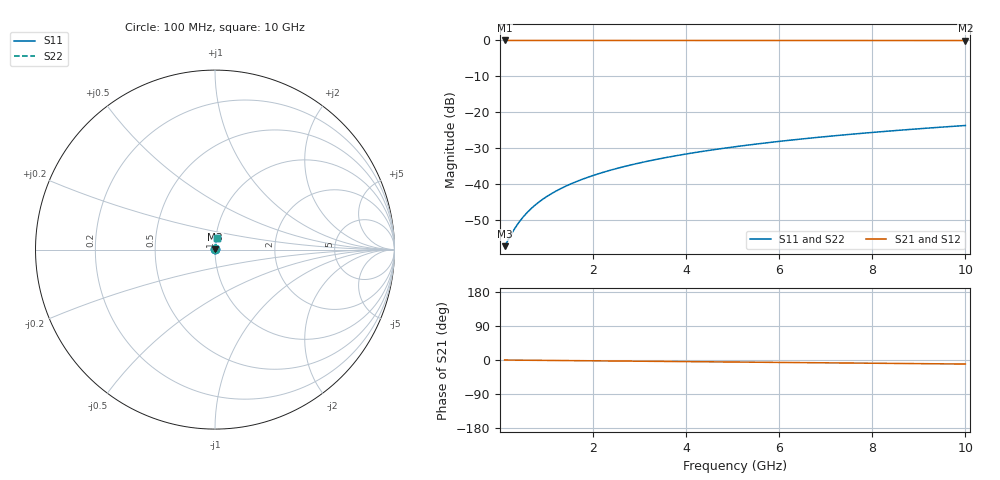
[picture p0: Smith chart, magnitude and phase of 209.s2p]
# Hz S RI R 50.00
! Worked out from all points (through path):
!   100 points, 100 MHz to 10 GHz, reference 50 ohm
!   highest |S21| = -0.01 dB at 100 MHz (marker M1); lowest = 0.0 dB at 10 GHz (marker M2)
!   group delay of S21, straight-line fit = 2.96 ps
!   lowest |S11| = -57.3 dB at 100 MHz (marker M3), VSWR 1.00, Z = 50.1 + j0.0654 ohm
!   |S11| at or under -10 dB: start of sweep to end of sweep
!   |S22| runs from -57.3 to -23.7 dB; largest |S21 - S12| = 0
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1e8  0.0012 0.000653  0.9988 -0.00185  0.9988 -0.00185  0.0012 0.000653
3e8  0.00122 0.00196  0.9988 -0.00555  0.9988 -0.00555  0.00122 0.00196
4e8  0.00123 0.00261  0.9987 -0.00739  0.9987 -0.00739  0.00123 0.00261
5e8  0.00125 0.00326  0.9987 -0.00924  0.9987 -0.00924  0.00125 0.00326
6e8  0.00127 0.00392  0.9987 -0.0111  0.9987 -0.0111  0.00127 0.00392
7e8  0.00128 0.00457  0.9987 -0.0129  0.9987 -0.0129  0.00128 0.00457
8e8  0.0013 0.00522  0.9986 -0.0148  0.9986 -0.0148  0.0013 0.00522
9e8  0.00133 0.00587  0.9986 -0.0166  0.9986 -0.0166  0.00133 0.00587
1e9  0.00135 0.00653  0.9986 -0.0185  0.9986 -0.0185  0.00135 0.00653
1.2e9  0.00141 0.00783  0.9985 -0.0222  0.9985 -0.0222  0.00141 0.00783
1.5e9  0.00151 0.00979  0.9983 -0.0277  0.9983 -0.0277  0.00151 0.00979
1.8e9  0.00164 0.0117  0.9981 -0.0333  0.9981 -0.0333  0.00164 0.0117
2.1e9  0.00178 0.0137  0.9979 -0.0388  0.9979 -0.0388  0.00178 0.0137
2.5e9  0.00201 0.0163  0.9975 -0.0462  0.9975 -0.0462  0.00201 0.0163
2.9e9  0.00227 0.0189  0.9971 -0.0536  0.9971 -0.0536  0.00227 0.0189
3.4e9  0.00266 0.0221  0.9965 -0.0629  0.9965 -0.0629  0.00266 0.0221
4.2e9  0.0034 0.0273  0.9953 -0.0776  0.9953 -0.0776  0.0034 0.0273
5.1e9  0.00442 0.0331  0.9937 -0.0942  0.9937 -0.0942  0.00442 0.0331
5.9e9  0.00549 0.0382  0.9919 -0.109  0.9919 -0.109  0.00549 0.0382
6.7e9  0.00671 0.0433  0.99 -0.1237  0.99 -0.1237  0.00671 0.0433
8.4e9  0.00981 0.0541  0.985 -0.155  0.985 -0.155  0.00981 0.0541
1e10  0.0134 0.064  0.9793 -0.1842  0.9793 -0.1842  0.0134 0.064
